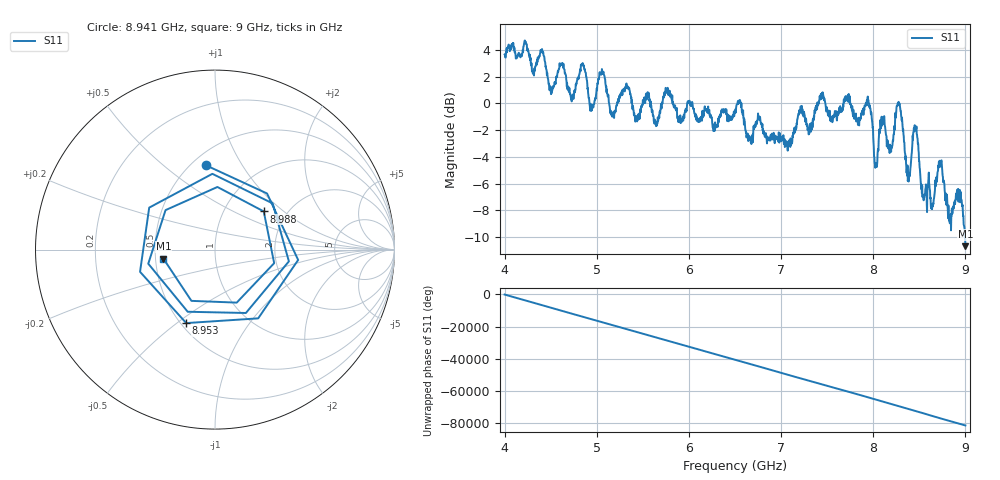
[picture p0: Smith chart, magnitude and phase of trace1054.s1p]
! Created with skrf 1.8.0 (http://scikit-rf.org).
# Hz S RI R 50.0
!freq ReS11 ImS11
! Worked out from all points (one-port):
!   1601 points, 4 GHz to 9 GHz, reference 50 ohm
!   lowest |S11| = -10.7 dB at 9 GHz (marker M1), VSWR 1.82, Z = 27.5 - j3 ohm
!   |S11| at or under -10 dB: 8.995849 GHz to end of sweep
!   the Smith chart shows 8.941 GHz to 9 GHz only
!   S11 on the Smith chart (normalised r, x): 8.941 GHz: 0.58, +0.71; 8.953 GHz: 0.53, -0.54; 8.988 GHz: 1.53, +0.74; 9 GHz: 0.55, -0.06
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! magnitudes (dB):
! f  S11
! 4 GHz  3.7
! 4.406 GHz  4.1
! 4.509 GHz  0.8
! 4.625 GHz  2.9
! 4.731 GHz  0.6
! 4.844 GHz  3.0
! 4.944 GHz  -0.5
! 5.053 GHz  2.3
! 5.162 GHz  -0.7
! 5.25 GHz  0.6
! 5.875 GHz  -1.1
! 6.5 GHz  -0.6
! 7.125 GHz  -2.4
! 7.438 GHz  0.7
! 7.75 GHz  -0.1
! 7.956 GHz  0.0
! 8.031 GHz  -4.6
! 8.097 GHz  -1.4
! 8.278 GHz  0.1
! 8.375 GHz  -5.8
! 8.453 GHz  -2.0
! 8.559 GHz  -6.8
! 8.722 GHz  -4.4
! 8.831 GHz  -9.0
! 8.941 GHz  -6.5
! 8.953 GHz  -7.1
! 8.988 GHz  -9.2
! 9 GHz  -10.7
